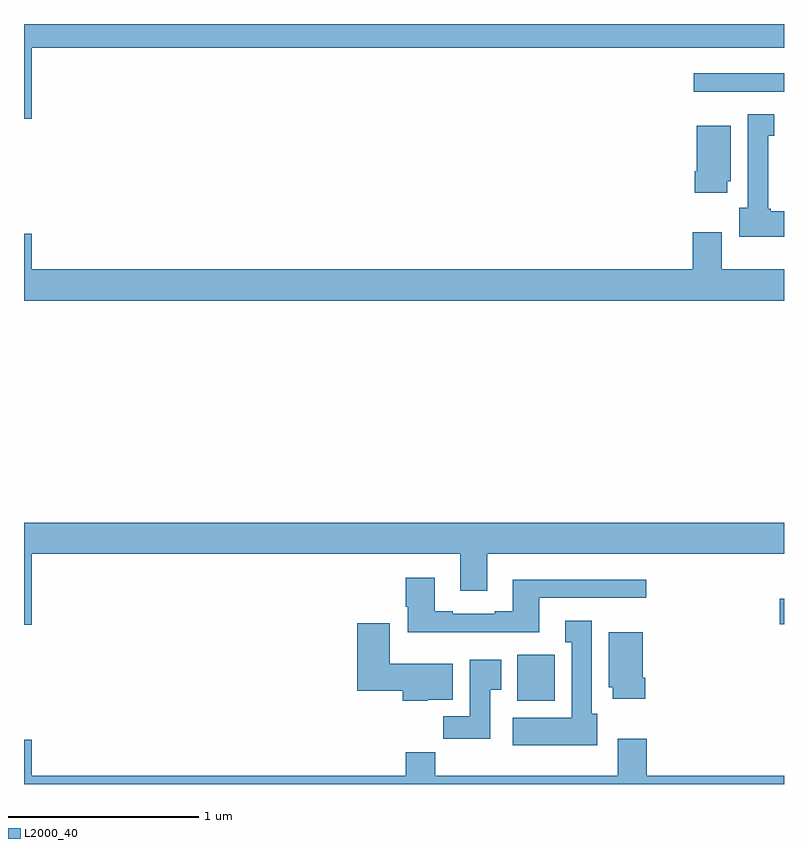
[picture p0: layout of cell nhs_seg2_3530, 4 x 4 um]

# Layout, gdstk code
import gdstk
lib = gdstk.Library(unit=1e-6, precision=1e-09)
def R(c, l, rs):  # rectangles x0, y0, x1, y1
    for r in rs: c.add(gdstk.rectangle(r[:2], r[2:], *l))
def P(c, l, *ps):  # polygons
    for p in ps: c.add(gdstk.Polygon(p, *l))
L2000_40 = (2000, 40)

nhs_seg2_3530 = lib.new_cell('nhs_seg2_3530')
R(nhs_seg2_3530, L2000_40, [(299.597,604.238,299.794,604.48), (300.978,604.64,301,604.774), (300.525,607.443,301,607.54)])
P(nhs_seg2_3530, L2000_40, [(297.04,607.676),(301,607.676),(301,607.8),(297,607.8),(297,607.302),(297.04,607.302)],
  [(301,606.814),(300.93,606.814),(300.93,606.828),(300.916,606.828),(300.916,607.211),(300.949,607.211),(300.949,607.324),(300.809,607.324),(300.809,606.834),(300.764,606.834),(300.764,606.68),(301,606.68)],
  [(300.7,606.972),(300.721,606.972),(300.721,607.264),(300.542,607.264),(300.542,607.024),(300.53,607.024),(300.53,606.912),(300.7,606.912)],
  [(301,606.508),(300.673,606.508),(300.673,606.703),(300.521,606.703),(300.521,606.508),(297.04,606.508),(297.04,606.697),(297,606.697),(297,606.344),(301,606.344)],
  [(297.04,605.012),(299.297,605.012),(299.297,604.818),(299.437,604.818),(299.437,605.012),(301,605.012),(301,605.176),(297,605.176),(297,604.638),(297.04,604.638)],
  [(299.713,604.779),(300.274,604.779),(300.274,604.876),(299.573,604.876),(299.573,604.708),(299.477,604.708),(299.477,604.695),(299.257,604.695),(299.257,604.708),(299.161,604.708),(299.161,604.885),(299.009,604.885),(299.009,604.732),(299.021,604.732),(299.021,604.598),(299.713,604.598)],
  [(300.016,604.17),(299.989,604.17),(299.989,604.66),(299.849,604.66),(299.849,604.547),(299.882,604.547),(299.882,604.15),(299.573,604.15),(299.573,604.004),(300.016,604.004)],
  [(299.124,604.244),(299.257,604.244),(299.257,604.432),(298.924,604.432),(298.924,604.645),(298.754,604.645),(298.754,604.292),(298.994,604.292),(298.994,604.238),(299.124,604.238)],
  [(300.269,604.36),(300.256,604.36),(300.256,604.6),(300.077,604.6),(300.077,604.308),(300.098,604.308),(300.098,604.248),(300.269,604.248)],
  [(299.455,604.297),(299.512,604.297),(299.512,604.453),(299.345,604.453),(299.345,604.156),(299.206,604.156),(299.206,604.038),(299.455,604.038)],
  [(301,603.844),(300.278,603.844),(300.278,604.039),(300.125,604.039),(300.125,603.844),(299.165,603.844),(299.165,603.968),(299.009,603.968),(299.009,603.844),(297.04,603.844),(297.04,604.033),(297,604.033),(297,603.8),(301,603.8)])

lib.write_gds('nhs_seg2_3530.gds')
